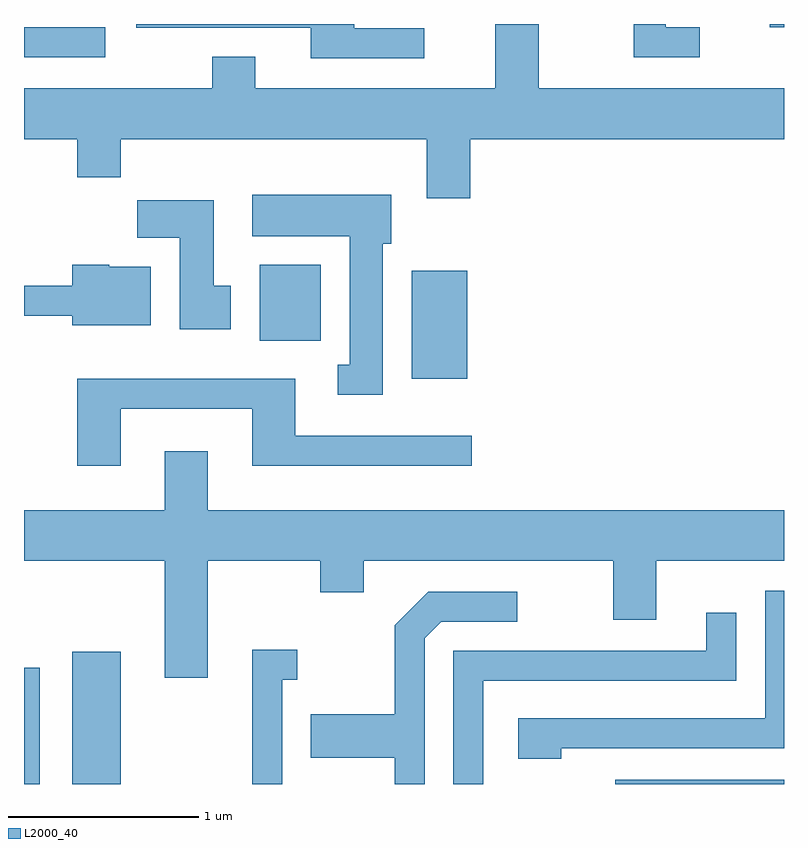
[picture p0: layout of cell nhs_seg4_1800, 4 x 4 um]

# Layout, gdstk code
import gdstk
lib = gdstk.Library(unit=1e-6, precision=1e-09)
def R(c, l, rs):  # rectangles x0, y0, x1, y1
    for r in rs: c.add(gdstk.rectangle(r[:2], r[2:], *l))
def P(c, l, *ps):  # polygons
    for p in ps: c.add(gdstk.Polygon(p, *l))
L2000_40 = (2000, 40)

nhs_seg4_1800 = lib.new_cell('nhs_seg4_1800')
R(nhs_seg4_1800, L2000_40, [(237.611,1317.982,237.694,1318.594), (237.866,1317.982,238.119,1318.679), (240.723,1317.982,241.611,1318.004), (239.651,1320.116,239.944,1320.684), (238.851,1320.316,239.174,1320.714), (237.611,1321.806,238.038,1321.964), (241.536,1321.966,241.611,1321.982)])
P(nhs_seg4_1800, L2000_40, [(241.168,1321.964),(240.989,1321.964),(240.989,1321.982),(240.821,1321.982),(240.821,1321.806),(241.168,1321.806)],
  [(239.718,1321.959),(239.349,1321.959),(239.349,1321.982),(238.201,1321.982),(238.201,1321.961),(239.121,1321.961),(239.121,1321.801),(239.718,1321.801)],
  [(239.959,1321.376),(241.611,1321.376),(241.611,1321.644),(240.319,1321.644),(240.319,1321.982),(240.091,1321.982),(240.091,1321.644),(238.829,1321.644),(238.829,1321.809),(238.601,1321.809),(238.601,1321.644),(237.611,1321.644),(237.611,1321.376),(237.891,1321.376),(237.891,1321.176),(238.119,1321.176),(238.119,1321.376),(239.731,1321.376),(239.731,1321.066),(239.959,1321.066)],
  [(239.499,1320.826),(239.544,1320.826),(239.544,1321.084),(238.811,1321.084),(238.811,1320.866),(239.326,1320.866),(239.326,1320.189),(239.263,1320.189),(239.263,1320.031),(239.499,1320.031)],
  [(238.699,1320.604),(238.609,1320.604),(238.609,1321.054),(238.206,1321.054),(238.206,1320.856),(238.431,1320.856),(238.431,1320.376),(238.699,1320.376)],
  [(238.279,1320.704),(238.06,1320.704),(238.06,1320.714),(237.866,1320.714),(237.866,1320.604),(237.611,1320.604),(237.611,1320.446),(237.866,1320.446),(237.866,1320.396),(238.279,1320.396)],
  [(238.119,1319.956),(238.811,1319.956),(238.811,1319.656),(239.968,1319.656),(239.968,1319.814),(239.039,1319.814),(239.039,1320.114),(237.891,1320.114),(237.891,1319.656),(238.119,1319.656)],
  [(238.579,1319.156),(239.171,1319.156),(239.171,1318.991),(239.399,1318.991),(239.399,1319.156),(240.711,1319.156),(240.711,1318.846),(240.939,1318.846),(240.939,1319.156),(241.611,1319.156),(241.611,1319.424),(238.579,1319.424),(238.579,1319.734),(238.351,1319.734),(238.351,1319.424),(237.611,1319.424),(237.611,1319.156),(238.351,1319.156),(238.351,1318.541),(238.579,1318.541)],
  [(240.439,1318.171),(241.611,1318.171),(241.611,1318.999),(241.511,1318.999),(241.511,1318.329),(240.211,1318.329),(240.211,1318.116),(240.439,1318.116)],
  [(239.719,1318.749),(239.807,1318.836),(240.208,1318.836),(240.208,1318.994),(239.739,1318.994),(239.561,1318.817),(239.561,1318.349),(239.121,1318.349),(239.121,1318.121),(239.561,1318.121),(239.561,1317.982),(239.719,1317.982)],
  [(240.029,1318.526),(241.359,1318.526),(241.359,1318.883),(241.201,1318.883),(241.201,1318.684),(239.871,1318.684),(239.871,1317.982),(240.029,1317.982)],
  [(238.969,1318.531),(239.048,1318.531),(239.048,1318.689),(238.811,1318.689),(238.811,1317.982),(238.969,1317.982)])

lib.write_gds('nhs_seg4_1800.gds')
